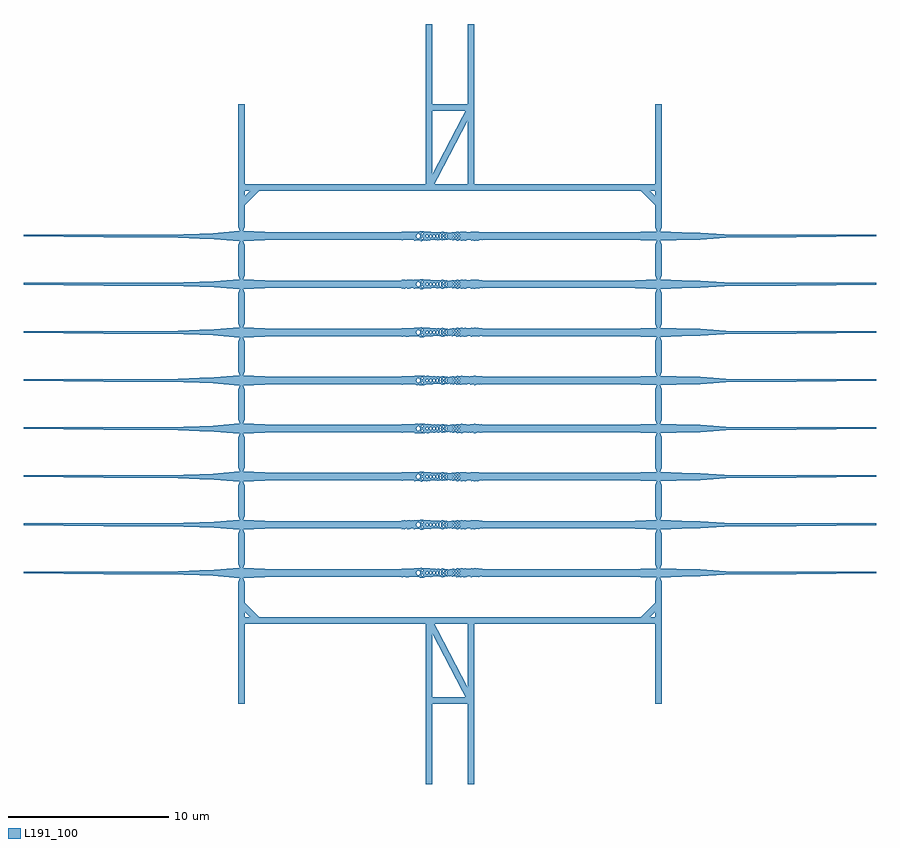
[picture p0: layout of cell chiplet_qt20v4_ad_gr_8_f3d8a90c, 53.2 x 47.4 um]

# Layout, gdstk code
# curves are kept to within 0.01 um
from math import pi, radians
import gdstk
lib = gdstk.Library(unit=1e-6, precision=1e-09)
def R(c, l, rs):  # rectangles x0, y0, x1, y1
    for r in rs: c.add(gdstk.rectangle(r[:2], r[2:], *l))
def P(c, l, *ps):  # polygons
    for p in ps: c.add(gdstk.Polygon(p, *l))
L191_100 = (191, 100)

qt20_180nm_gap_cavity_9e = lib.new_cell('QT20_180nm_gap_cavity_9e89cd71')
P(qt20_180nm_gap_cavity_9e, L191_100, [(-1.796,0.306),(-1.528,0.271),(-1.336,0.28),(-1.14,0.245),(-0.96,0.252),(-0.824,0.235),(-0.728,0.252),(-0.62,0.228),(-0.452,0.272),(-0.328,0.233),(-0.184,0.232),(-0.088,0.196),(0.108,0.228),(0.184,0.255),(0.32,0.229),(0.464,0.279),(0.576,0.246),(0.744,0.284),(0.832,0.26),(0.944,0.276),(1.06,0.245),(1.22,0.242),(1.34,0.274),(1.448,0.265),(1.528,0.288),(1.656,0.268),(1.756,0.273),(1.852,0.245),(1.98,0.251),(2.002,0.242),(2.002,0.039),(0.572,0.039),(0.602,0.058),(0.613,0.098),(0.597,0.146),(0.568,0.168),(0.536,0.154),(0.514,0.114),(0.522,0.074),(0.564,0.04),(0.408,0.04),(0.438,0.07),(0.442,0.11),(0.422,0.146),(0.376,0.176),(0.34,0.158),(0.33,0.11),(0.39,0.042),(0.213,0.042),(0.24,0.058),(0.256,0.098),(0.248,0.129),(0.216,0.148),(0.18,0.138),(0.162,0.094),(0.176,0.059),(0.207,0.042),(2.002,0.039),(2.002,-0.168),(0.568,-0.168),(0.61,-0.118),(0.602,-0.058),(0.58,-0.04),(0.552,-0.044),(0.514,-0.094),(0.526,-0.142),(0.56,-0.168),(2.002,-0.176),(0.376,-0.176),(0.408,-0.16),(0.442,-0.11),(0.438,-0.07),(0.408,-0.04),(0.343,-0.082),(0.334,-0.148),(0.216,-0.148),(0.244,-0.134),(0.256,-0.098),(0.24,-0.058),(0.213,-0.042),(0.167,-0.074),(0.172,-0.129),(-0.204,-0.129),(-0.178,-0.102),(-0.188,0.122),(-0.224,0.128),(-0.256,0.112),(-0.274,0.086),(-0.274,0.037),(-0.412,0.037),(-0.38,0.052),(-0.335,0.106),(-0.339,0.146),(-0.372,0.18),(-0.435,0.162),(-0.474,0.102),(-0.428,0.04),(-0.274,0.037),(-0.273,-0.09),(-0.216,-0.129),(0.172,-0.129),(0.2,-0.148),(0.334,-0.148),(0.368,-0.176),(2.002,-0.18),(-0.372,-0.18),(-0.344,-0.156),(-0.335,-0.106),(-0.38,-0.052),(-0.412,-0.037),(-0.444,-0.051),(-0.473,-0.094),(-0.464,-0.132),(-0.436,-0.161),(-0.592,-0.161),(-0.554,-0.138),(-0.537,-0.102),(-0.562,-0.01),(-0.538,0.11),(-0.584,0.16),(-0.626,0.142),(-0.654,0.086),(-0.658,-0.058),(-0.643,-0.115),(-0.784,-0.115),(-0.739,-0.074),(-0.719,-0.006),(-0.739,0.074),(-0.784,0.115),(-0.83,0.09),(-0.866,0.022),(-0.858,-0.046),(-0.813,-0.106),(-0.988,-0.106),(-0.951,-0.082),(-0.922,-0.014),(-0.934,0.054),(-0.98,0.104),(-1.028,0.091),(-1.07,0.018),(-1.058,-0.054),(-1.008,-0.103),(-1.204,-0.103),(-1.156,-0.069),(-1.133,-0.01),(-1.151,0.062),(-1.188,0.099),(-1.232,0.096),(-1.281,0.03),(-1.281,-0.03),(-1.24,-0.09),(-1.42,-0.09),(-1.374,-0.066),(-1.35,-0.018),(-1.358,0.042),(-1.396,0.084),(-1.724,0.074),(-1.68,0.088),(-1.658,0.126),(-1.67,0.178),(-1.72,0.213),(-1.778,0.182),(-1.798,0.118),(-1.784,0.092),(-1.748,0.076),(-1.469,0.074),(-1.502,0.034),(-1.507,-0.018),(-1.479,-0.066),(-1.429,-0.09),(-0.643,-0.115),(-0.604,-0.159),(-0.436,-0.161),(-0.396,-0.18),(2.002,-0.18),(2.002,-0.242),(1.944,-0.254),(1.852,-0.245),(1.756,-0.273),(1.656,-0.268),(1.56,-0.288),(1.448,-0.265),(1.34,-0.274),(1.22,-0.242),(1.06,-0.245),(0.944,-0.276),(0.832,-0.26),(0.724,-0.284),(0.592,-0.246),(0.464,-0.279),(0.32,-0.229),(0.184,-0.255),(-0.064,-0.196),(-0.14,-0.213),(-1.72,-0.213),(-1.679,-0.19),(-1.658,-0.146),(-1.667,-0.102),(-1.704,-0.076),(-1.784,-0.092),(-1.794,-0.152),(-1.964,-0.152),(-1.913,-0.13),(-1.87,-0.082),(-1.858,0.046),(-1.904,0.123),(-1.984,0.152),(-2.048,0.123),(-2.086,0.066),(-2.094,-0.034),(-2.07,-0.098),(-1.992,-0.151),(-1.794,-0.152),(-1.768,-0.193),(-1.732,-0.212),(-0.14,-0.213),(-0.16,-0.224),(-0.328,-0.233),(-0.452,-0.272),(-0.62,-0.228),(-0.728,-0.252),(-0.824,-0.235),(-0.96,-0.252),(-1.14,-0.245),(-1.336,-0.28),(-1.528,-0.271),(-1.796,-0.306),(-1.94,-0.281),(-2.152,-0.284),(-2.272,-0.263),(-3,-0.268),(-3,0.268),(-2.272,0.263),(-2.152,0.284),(-1.94,0.281)])

taper_cross_section_b099 = lib.new_cell('taper_cross_section_b0997aaa')
P(taper_cross_section_b099, L191_100, [(0,-0.23),(0.03,-0.23),(0.061,-0.23),(0.091,-0.23),(0.121,-0.23),(0.152,-0.23),(0.182,-0.23),(0.212,-0.23),(0.242,-0.23),(0.273,-0.23),(0.303,-0.23),(0.333,-0.23),(0.364,-0.23),(0.394,-0.23),(0.424,-0.23),(0.455,-0.23),(0.485,-0.23),(0.515,-0.23),(0.545,-0.23),(0.576,-0.23),(0.606,-0.23),(0.636,-0.23),(0.667,-0.23),(0.697,-0.23),(0.727,-0.23),(0.758,-0.23),(0.788,-0.23),(0.818,-0.23),(0.848,-0.23),(0.879,-0.23),(0.909,-0.23),(0.939,-0.23),(0.97,-0.23),(1,-0.23),(1.03,-0.23),(1.061,-0.23),(1.091,-0.23),(1.121,-0.23),(1.152,-0.23),(1.182,-0.23),(1.212,-0.23),(1.242,-0.23),(1.273,-0.23),(1.303,-0.23),(1.333,-0.23),(1.364,-0.23),(1.394,-0.23),(1.424,-0.23),(1.455,-0.23),(1.485,-0.23),(1.515,-0.23),(1.545,-0.23),(1.576,-0.23),(1.606,-0.23),(1.636,-0.23),(1.667,-0.23),(1.697,-0.23),(1.727,-0.23),(1.758,-0.23),(1.788,-0.23),(1.818,-0.23),(1.848,-0.23),(1.879,-0.23),(1.909,-0.23),(1.939,-0.23),(1.97,-0.23),(2,-0.23),(2.03,-0.23),(2.061,-0.23),(2.091,-0.23),(2.121,-0.23),(2.152,-0.23),(2.182,-0.23),(2.212,-0.23),(2.242,-0.23),(2.273,-0.23),(2.303,-0.23),(2.333,-0.23),(2.364,-0.23),(2.394,-0.23),(2.424,-0.23),(2.455,-0.23),(2.485,-0.23),(2.515,-0.23),(2.545,-0.23),(2.576,-0.23),(2.606,-0.23),(2.636,-0.23),(2.667,-0.23),(2.697,-0.23),(2.727,-0.23),(2.758,-0.23),(2.788,-0.23),(2.818,-0.23),(2.848,-0.23),(2.879,-0.23),(2.909,-0.23),(2.939,-0.23),(2.97,-0.23),(3,-0.23),(3,0.23),(2.97,0.23),(2.939,0.23),(2.909,0.23),(2.879,0.23),(2.848,0.23),(2.818,0.23),(2.788,0.23),(2.758,0.23),(2.727,0.23),(2.697,0.23),(2.667,0.23),(2.636,0.23),(2.606,0.23),(2.576,0.23),(2.545,0.23),(2.515,0.23),(2.485,0.23),(2.455,0.23),(2.424,0.23),(2.394,0.23),(2.364,0.23),(2.333,0.23),(2.303,0.23),(2.273,0.23),(2.242,0.23),(2.212,0.23),(2.182,0.23),(2.152,0.23),(2.121,0.23),(2.091,0.23),(2.061,0.23),(2.03,0.23),(2,0.23),(1.97,0.23),(1.939,0.23),(1.909,0.23),(1.879,0.23),(1.848,0.23),(1.818,0.23),(1.788,0.23),(1.758,0.23),(1.727,0.23),(1.697,0.23),(1.667,0.23),(1.636,0.23),(1.606,0.23),(1.576,0.23),(1.545,0.23),(1.515,0.23),(1.485,0.23),(1.455,0.23),(1.424,0.23),(1.394,0.23),(1.364,0.23),(1.333,0.23),(1.303,0.23),(1.273,0.23),(1.242,0.23),(1.212,0.23),(1.182,0.23),(1.152,0.23),(1.121,0.23),(1.091,0.23),(1.061,0.23),(1.03,0.23),(1,0.23),(0.97,0.23),(0.939,0.23),(0.909,0.23),(0.879,0.23),(0.848,0.23),(0.818,0.23),(0.788,0.23),(0.758,0.23),(0.727,0.23),(0.697,0.23),(0.667,0.23),(0.636,0.23),(0.606,0.23),(0.576,0.23),(0.545,0.23),(0.515,0.23),(0.485,0.23),(0.455,0.23),(0.424,0.23),(0.394,0.23),(0.364,0.23),(0.333,0.23),(0.303,0.23),(0.273,0.23),(0.242,0.23),(0.212,0.23),(0.182,0.23),(0.152,0.23),(0.121,0.23),(0.091,0.23),(0.061,0.23),(0.03,0.23),(0,0.23)])

taper_cross_section_83e5 = lib.new_cell('taper_cross_section_83e5c939')
P(taper_cross_section_83e5, L191_100, [(0,-0.23),(0.03,-0.23),(0.061,-0.23),(0.091,-0.23),(0.121,-0.23),(0.152,-0.23),(0.182,-0.23),(0.212,-0.23),(0.242,-0.23),(0.273,-0.23),(0.303,-0.23),(0.333,-0.23),(0.364,-0.23),(0.394,-0.23),(0.424,-0.23),(0.455,-0.23),(0.485,-0.23),(0.515,-0.23),(0.545,-0.23),(0.576,-0.23),(0.606,-0.23),(0.636,-0.23),(0.667,-0.23),(0.697,-0.23),(0.727,-0.23),(0.758,-0.23),(0.788,-0.23),(0.818,-0.23),(0.848,-0.23),(0.879,-0.23),(0.909,-0.23),(0.939,-0.23),(0.97,-0.23),(1,-0.23),(1.03,-0.23),(1.061,-0.23),(1.091,-0.23),(1.121,-0.23),(1.152,-0.23),(1.182,-0.23),(1.212,-0.23),(1.242,-0.23),(1.273,-0.23),(1.303,-0.23),(1.333,-0.23),(1.364,-0.23),(1.394,-0.23),(1.424,-0.23),(1.455,-0.23),(1.485,-0.23),(1.515,-0.23),(1.545,-0.23),(1.576,-0.23),(1.606,-0.23),(1.636,-0.23),(1.667,-0.23),(1.697,-0.23),(1.727,-0.23),(1.758,-0.23),(1.788,-0.23),(1.818,-0.23),(1.848,-0.23),(1.879,-0.23),(1.909,-0.23),(1.939,-0.23),(1.97,-0.23),(2,-0.23),(2.03,-0.23),(2.061,-0.23),(2.091,-0.23),(2.121,-0.23),(2.152,-0.23),(2.182,-0.23),(2.212,-0.23),(2.242,-0.23),(2.273,-0.23),(2.303,-0.23),(2.333,-0.23),(2.364,-0.23),(2.394,-0.23),(2.424,-0.23),(2.455,-0.23),(2.485,-0.23),(2.515,-0.23),(2.545,-0.23),(2.576,-0.23),(2.606,-0.23),(2.636,-0.23),(2.667,-0.23),(2.697,-0.23),(2.727,-0.23),(2.758,-0.23),(2.788,-0.23),(2.818,-0.23),(2.848,-0.23),(2.879,-0.23),(2.909,-0.23),(2.939,-0.23),(2.97,-0.23),(3,-0.23),(3,0.23),(2.97,0.23),(2.939,0.23),(2.909,0.23),(2.879,0.23),(2.848,0.23),(2.818,0.23),(2.788,0.23),(2.758,0.23),(2.727,0.23),(2.697,0.23),(2.667,0.23),(2.636,0.23),(2.606,0.23),(2.576,0.23),(2.545,0.23),(2.515,0.23),(2.485,0.23),(2.455,0.23),(2.424,0.23),(2.394,0.23),(2.364,0.23),(2.333,0.23),(2.303,0.23),(2.273,0.23),(2.242,0.23),(2.212,0.23),(2.182,0.23),(2.152,0.23),(2.121,0.23),(2.091,0.23),(2.061,0.23),(2.03,0.23),(2,0.23),(1.97,0.23),(1.939,0.23),(1.909,0.23),(1.879,0.23),(1.848,0.23),(1.818,0.23),(1.788,0.23),(1.758,0.23),(1.727,0.23),(1.697,0.23),(1.667,0.23),(1.636,0.23),(1.606,0.23),(1.576,0.23),(1.545,0.23),(1.515,0.23),(1.485,0.23),(1.455,0.23),(1.424,0.23),(1.394,0.23),(1.364,0.23),(1.333,0.23),(1.303,0.23),(1.273,0.23),(1.242,0.23),(1.212,0.23),(1.182,0.23),(1.152,0.23),(1.121,0.23),(1.091,0.23),(1.061,0.23),(1.03,0.23),(1,0.23),(0.97,0.23),(0.939,0.23),(0.909,0.23),(0.879,0.23),(0.848,0.23),(0.818,0.23),(0.788,0.23),(0.758,0.23),(0.727,0.23),(0.697,0.23),(0.667,0.23),(0.636,0.23),(0.606,0.23),(0.576,0.23),(0.545,0.23),(0.515,0.23),(0.485,0.23),(0.455,0.23),(0.424,0.23),(0.394,0.23),(0.364,0.23),(0.333,0.23),(0.303,0.23),(0.273,0.23),(0.242,0.23),(0.212,0.23),(0.182,0.23),(0.152,0.23),(0.121,0.23),(0.091,0.23),(0.061,0.23),(0.03,0.23),(0,0.23)])

coupled_qbit_0bb29502 = lib.new_cell('coupled_qbit_0bb29502')
coupled_qbit_0bb29502.add(gdstk.Reference(qt20_180nm_gap_cavity_9e, (0,0)))
coupled_qbit_0bb29502.add(gdstk.Reference(taper_cross_section_b099, (5.002,0), rotation=pi))
coupled_qbit_0bb29502.add(gdstk.Reference(taper_cross_section_83e5, (-3.002,0), rotation=pi))

straight_aaa9666b = lib.new_cell('straight_aaa9666b')
R(straight_aaa9666b, L191_100, [(0,-0.23,4.898,0.23)])

straight_15000633 = lib.new_cell('straight_15000633')
R(straight_15000633, L191_100, [(0,-0.23,5.898,0.23)])

compass_d79f009c = lib.new_cell('compass_d79f009c')
R(compass_d79f009c, L191_100, [(-0.1,-0.3,0.1,0.3)])

rectangle_ed88580b = lib.new_cell('rectangle_ed88580b')
rectangle_ed88580b.add(gdstk.Reference(compass_d79f009c, (0,0)))

taper_cross_section_74e0 = lib.new_cell('taper_cross_section_74e0f155')
P(taper_cross_section_74e0, L191_100, [(0,-0.225),(2,-0.3),(2,0.3),(0,0.225)])

taper_cross_section_a297 = lib.new_cell('taper_cross_section_a2972c19')
P(taper_cross_section_a297, L191_100, [(0,-0.23),(2,-0.3),(2,0.3),(0,0.23)])

taper_cross_section_20e0 = lib.new_cell('taper_cross_section_20e0bc68')
P(taper_cross_section_20e0, L191_100, [(0,-0.1),(0.25,-0.2),(0.25,0.2),(0,0.1)])

support_cross_f89d0b61 = lib.new_cell('support_cross_f89d0b61')
support_cross_f89d0b61.add(gdstk.Reference(rectangle_ed88580b, (0,0)))
support_cross_f89d0b61.add(gdstk.Reference(taper_cross_section_74e0, (2.1,0), rotation=pi))
support_cross_f89d0b61.add(gdstk.Reference(taper_cross_section_a297, (-2.1,0)))
support_cross_f89d0b61.add(gdstk.Reference(taper_cross_section_20e0, (0,0.3), rotation=pi/2))
support_cross_f89d0b61.add(gdstk.Reference(taper_cross_section_20e0, (0,-0.3), rotation=3*pi/2))

compass_87a1f7e4 = lib.new_cell('compass_87a1f7e4')
R(compass_87a1f7e4, L191_100, [(-0.1,-0.325,0.1,0.325)])

rectangle_03c840df = lib.new_cell('rectangle_03c840df')
rectangle_03c840df.add(gdstk.Reference(compass_87a1f7e4, (0,0)))

taper_cross_section_66c0 = lib.new_cell('taper_cross_section_66c08956')
P(taper_cross_section_66c0, L191_100, [(0,-0.23),(2,-0.325),(2,0.325),(0,0.23)])

taper_cross_section_2160 = lib.new_cell('taper_cross_section_2160c1e2')
P(taper_cross_section_2160, L191_100, [(0,-0.155),(2,-0.325),(2,0.325),(0,0.155)])

support_cross_91ce4cfd = lib.new_cell('support_cross_91ce4cfd')
support_cross_91ce4cfd.add(gdstk.Reference(rectangle_03c840df, (0,0)))
support_cross_91ce4cfd.add(gdstk.Reference(taper_cross_section_66c0, (2.1,0), rotation=pi))
support_cross_91ce4cfd.add(gdstk.Reference(taper_cross_section_2160, (-2.1,0)))
support_cross_91ce4cfd.add(gdstk.Reference(taper_cross_section_20e0, (0,0.325), rotation=pi/2))
support_cross_91ce4cfd.add(gdstk.Reference(taper_cross_section_20e0, (0,-0.325), rotation=3*pi/2))

inverse_design_qbit_beam = lib.new_cell('inverse_design_qbit_beam_58db6d0b')
inverse_design_qbit_beam.add(gdstk.Reference(coupled_qbit_0bb29502, (0,0)))
inverse_design_qbit_beam.add(gdstk.Reference(straight_aaa9666b, (-6.002,0), rotation=pi))
inverse_design_qbit_beam.add(gdstk.Reference(straight_15000633, (5.002,0)))
inverse_design_qbit_beam.add(gdstk.Reference(support_cross_f89d0b61, (13,0)))
inverse_design_qbit_beam.add(gdstk.Reference(support_cross_91ce4cfd, (-13,0)))

c_inverse_design_qbit_beam = lib.new_cell('inverse_design_qbit_beam_array_3f7fdb9b')
r = gdstk.Reference(inverse_design_qbit_beam, (0,0)); r.repetition = gdstk.Repetition(1, 8, v1=(1,0), v2=(0,3)); c_inverse_design_qbit_beam.add(r)

straight_cc08c24d = lib.new_cell('straight_cc08c24d')
R(straight_cc08c24d, L191_100, [(0,-0.2,1.85,0.2)])

straight_7ad87ee6 = lib.new_cell('straight_7ad87ee6')
R(straight_7ad87ee6, L191_100, [(0,-0.2,1.9,0.2)])

qbit_beam_array_eb526c35 = lib.new_cell('qbit_beam_array_eb526c35')
qbit_beam_array_eb526c35.add(gdstk.Reference(c_inverse_design_qbit_beam, (0,0)))
qbit_beam_array_eb526c35.add(gdstk.Reference(straight_cc08c24d, (-13,0.575), rotation=pi/2))
qbit_beam_array_eb526c35.add(gdstk.Reference(straight_7ad87ee6, (13,0.55), rotation=pi/2))
qbit_beam_array_eb526c35.add(gdstk.Reference(straight_cc08c24d, (-13,3.575), rotation=pi/2))
qbit_beam_array_eb526c35.add(gdstk.Reference(straight_7ad87ee6, (13,3.55), rotation=pi/2))
qbit_beam_array_eb526c35.add(gdstk.Reference(straight_cc08c24d, (-13,6.575), rotation=pi/2))
qbit_beam_array_eb526c35.add(gdstk.Reference(straight_7ad87ee6, (13,6.55), rotation=pi/2))
qbit_beam_array_eb526c35.add(gdstk.Reference(straight_cc08c24d, (-13,9.575), rotation=pi/2))
qbit_beam_array_eb526c35.add(gdstk.Reference(straight_7ad87ee6, (13,9.55), rotation=pi/2))
qbit_beam_array_eb526c35.add(gdstk.Reference(straight_cc08c24d, (-13,12.575), rotation=pi/2))
qbit_beam_array_eb526c35.add(gdstk.Reference(straight_7ad87ee6, (13,12.55), rotation=pi/2))
qbit_beam_array_eb526c35.add(gdstk.Reference(straight_cc08c24d, (-13,15.575), rotation=pi/2))
qbit_beam_array_eb526c35.add(gdstk.Reference(straight_7ad87ee6, (13,15.55), rotation=pi/2))
qbit_beam_array_eb526c35.add(gdstk.Reference(straight_cc08c24d, (-13,18.575), rotation=pi/2))
qbit_beam_array_eb526c35.add(gdstk.Reference(straight_7ad87ee6, (13,18.55), rotation=pi/2))

l_c8ea28a7 = lib.new_cell('L_c8ea28a7')
P(l_c8ea28a7, L191_100, [(-0.2,-0.2),(1.3,-0.2),(1.3,0.2),(0.2,0.2),(0.2,1.3),(-0.2,1.3),(-0.2,-0.2)])

extrude_f667d802 = lib.new_cell('extrude_f667d802')
P(extrude_f667d802, L191_100, [(1.181,0.141),(0.141,1.181),(-0.141,0.899),(0.899,-0.141)])

chiplet_frame_corner_fb6 = lib.new_cell('chiplet_frame_corner_fb6255ab')
chiplet_frame_corner_fb6.add(gdstk.Reference(l_c8ea28a7, (0,0)))
chiplet_frame_corner_fb6.add(gdstk.Reference(extrude_f667d802, (0,0)))

compass_2ac69cab = lib.new_cell('compass_2ac69cab')
R(compass_2ac69cab, L191_100, [(-0.2,-0.2,0.2,0.2)])

rectangle_2ac69cab = lib.new_cell('rectangle_2ac69cab')
rectangle_2ac69cab.add(gdstk.Reference(compass_2ac69cab, (0.2,0.2)))

straight_c0c98653 = lib.new_cell('straight_c0c98653')
R(straight_c0c98653, L191_100, [(0,-0.2,2,0.2)])

straight_d8296038 = lib.new_cell('straight_d8296038')
R(straight_d8296038, L191_100, [(0,-0.2,7.4,0.2)])

straight_0f47a090 = lib.new_cell('straight_0f47a090')
R(straight_0f47a090, L191_100, [(0,-0.2,2.2,0.2)])

straight_ca39a7c7 = lib.new_cell('straight_ca39a7c7')
R(straight_ca39a7c7, L191_100, [(0,-0.2,4.6,0.2)])

extrude_b28737ee = lib.new_cell('extrude_b28737ee')
P(extrude_b28737ee, L191_100, [(10.777,0.108),(13.377,5.108),(13.023,5.292),(10.423,0.292)])

breakout_midsection_7238 = lib.new_cell('breakout_midsection_7238e00b')
breakout_midsection_7238.add(gdstk.Reference(rectangle_2ac69cab, (0.2,0)))
breakout_midsection_7238.add(gdstk.Reference(rectangle_2ac69cab, (2.6,0)))
breakout_midsection_7238.add(gdstk.Reference(rectangle_2ac69cab, (10.4,0)))
breakout_midsection_7238.add(gdstk.Reference(rectangle_2ac69cab, (13,0)))
breakout_midsection_7238.add(gdstk.Reference(rectangle_2ac69cab, (20.8,0)))
breakout_midsection_7238.add(gdstk.Reference(rectangle_2ac69cab, (23.2,0)))
breakout_midsection_7238.add(gdstk.Reference(rectangle_2ac69cab, (10.4,5)))
breakout_midsection_7238.add(gdstk.Reference(rectangle_2ac69cab, (13,5)))
breakout_midsection_7238.add(gdstk.Reference(rectangle_2ac69cab, (10.4,10)))
breakout_midsection_7238.add(gdstk.Reference(rectangle_2ac69cab, (13,10)))
breakout_midsection_7238.add(gdstk.Reference(straight_c0c98653, (0.6,0.2)))
breakout_midsection_7238.add(gdstk.Reference(straight_d8296038, (3,0.2)))
breakout_midsection_7238.add(gdstk.Reference(straight_0f47a090, (10.8,0.2)))
breakout_midsection_7238.add(gdstk.Reference(straight_d8296038, (13.4,0.2)))
breakout_midsection_7238.add(gdstk.Reference(straight_c0c98653, (21.2,0.2)))
breakout_midsection_7238.add(gdstk.Reference(straight_0f47a090, (10.8,5.2)))
breakout_midsection_7238.add(gdstk.Reference(straight_ca39a7c7, (10.6,0.4), rotation=pi/2))
breakout_midsection_7238.add(gdstk.Reference(straight_ca39a7c7, (10.6,5.4), rotation=pi/2))
breakout_midsection_7238.add(gdstk.Reference(straight_ca39a7c7, (13.2,0.4), rotation=pi/2))
breakout_midsection_7238.add(gdstk.Reference(straight_ca39a7c7, (13.2,5.4), rotation=pi/2))
breakout_midsection_7238.add(gdstk.Reference(extrude_b28737ee, (0,0)))

straight_b8c71607 = lib.new_cell('straight_b8c71607')
R(straight_b8c71607, L191_100, [(0,-0.2,5,0.2)])

breakout_support_structu = lib.new_cell('breakout_support_structure_363ea766')
breakout_support_structu.add(gdstk.Reference(chiplet_frame_corner_fb6, (-1.1,0.2), x_reflection=True))
breakout_support_structu.add(gdstk.Reference(chiplet_frame_corner_fb6, (24.9,0.2), rotation=pi))
breakout_support_structu.add(gdstk.Reference(breakout_midsection_7238, (0,0)))
breakout_support_structu.add(gdstk.Reference(straight_b8c71607, (-1.1,0.4), rotation=pi/2))
breakout_support_structu.add(gdstk.Reference(straight_b8c71607, (24.9,0.4), rotation=pi/2))

straight_2f2d2c75 = lib.new_cell('straight_2f2d2c75')
R(straight_2f2d2c75, L191_100, [(0,-0.2,1.155,0.2)])

straight_f5ab2834 = lib.new_cell('straight_f5ab2834')
R(straight_f5ab2834, L191_100, [(0,-0.2,1.18,0.2)])

c_breakout_support_structu = lib.new_cell('breakout_support_structure_with_base_extension_5c3bd4ee')
c_breakout_support_structu.add(gdstk.Reference(breakout_support_structu, (0,0)))
c_breakout_support_structu.add(gdstk.Reference(straight_2f2d2c75, (-1.1,-1.1), rotation=3*pi/2))
c_breakout_support_structu.add(gdstk.Reference(straight_f5ab2834, (24.9,-1.1), rotation=3*pi/2))

straight_6bc4b7b7 = lib.new_cell('straight_6bc4b7b7')
R(straight_6bc4b7b7, L191_100, [(0,-0.2,1.095,0.2)])

straight_a05f0073 = lib.new_cell('straight_a05f0073')
R(straight_a05f0073, L191_100, [(0,-0.2,1.12,0.2)])

c_breakout_support_structu_ = lib.new_cell('breakout_support_structure_with_base_extension_84308aab')
c_breakout_support_structu_.add(gdstk.Reference(breakout_support_structu, (0,0)))
c_breakout_support_structu_.add(gdstk.Reference(straight_6bc4b7b7, (-1.1,-1.1), rotation=3*pi/2))
c_breakout_support_structu_.add(gdstk.Reference(straight_a05f0073, (24.9,-1.1), rotation=3*pi/2))

qt_chiplet_v2_a8cc80e2 = lib.new_cell('qt_chiplet_v2_a8cc80e2')
qt_chiplet_v2_a8cc80e2.add(gdstk.Reference(qbit_beam_array_eb526c35, (0,0)))
qt_chiplet_v2_a8cc80e2.add(gdstk.Reference(c_breakout_support_structu, (-11.9,23.83)))
qt_chiplet_v2_a8cc80e2.add(gdstk.Reference(c_breakout_support_structu_, (-11.9,-2.77), x_reflection=True))

chiplet_qt20v4_8d6b0e8d = lib.new_cell('chiplet_qt20v4_8d6b0e8d')
chiplet_qt20v4_8d6b0e8d.add(gdstk.Reference(qt_chiplet_v2_a8cc80e2, (0,0)))

straight_5b8eeee8 = lib.new_cell('straight_5b8eeee8')
R(straight_5b8eeee8, L191_100, [(0,-0.155,0.5,0.155)])

taper_9b1bdfca = lib.new_cell('taper_9b1bdfca')
P(taper_9b1bdfca, L191_100, [(0,0.155),(2,0.08),(2,-0.08),(0,-0.155)])

straight_3af902ff = lib.new_cell('straight_3af902ff')
R(straight_3af902ff, L191_100, [(0,-0.08,4,0.08)])

ramp_6c3b3d98 = lib.new_cell('ramp_6c3b3d98')
P(ramp_6c3b3d98, L191_100, [(0,0.16),(5,0.1),(5,0),(0,0)])

xceleprint_d_sin_transit = lib.new_cell('xceleprint_d_sin_transition_7fae5980')
xceleprint_d_sin_transit.add(gdstk.Reference(straight_5b8eeee8, (0,0)))
xceleprint_d_sin_transit.add(gdstk.Reference(taper_9b1bdfca, (0.5,0)))
xceleprint_d_sin_transit.add(gdstk.Reference(straight_3af902ff, (2.5,0)))
xceleprint_d_sin_transit.add(gdstk.Reference(ramp_6c3b3d98, (6.5,0.08), x_reflection=True))

straight_ee09d4de = lib.new_cell('straight_ee09d4de')
R(straight_ee09d4de, L191_100, [(0,-0.225,0.5,0.225)])

taper_5277910b = lib.new_cell('taper_5277910b')
P(taper_5277910b, L191_100, [(0,0.225),(2,0.08),(2,-0.08),(0,-0.225)])

c_xceleprint_d_sin_transit = lib.new_cell('xceleprint_d_sin_transition_d7fa76c1')
c_xceleprint_d_sin_transit.add(gdstk.Reference(straight_ee09d4de, (0,0)))
c_xceleprint_d_sin_transit.add(gdstk.Reference(taper_5277910b, (0.5,0)))
c_xceleprint_d_sin_transit.add(gdstk.Reference(straight_3af902ff, (2.5,0)))
c_xceleprint_d_sin_transit.add(gdstk.Reference(ramp_6c3b3d98, (6.5,0.08), x_reflection=True))

chiplet_qt20v4_ad_gr_8_f = lib.new_cell('chiplet_qt20v4_ad_gr_8_f3d8a90c')
chiplet_qt20v4_ad_gr_8_f.add(gdstk.Reference(chiplet_qt20v4_8d6b0e8d, (0,-10.53)))
chiplet_qt20v4_ad_gr_8_f.add(gdstk.Reference(xceleprint_d_sin_transit, (-15.1,-10.53), rotation=pi, x_reflection=True))
chiplet_qt20v4_ad_gr_8_f.add(gdstk.Reference(xceleprint_d_sin_transit, (-15.1,-7.53), rotation=pi, x_reflection=True))
chiplet_qt20v4_ad_gr_8_f.add(gdstk.Reference(xceleprint_d_sin_transit, (-15.1,-4.53), rotation=pi, x_reflection=True))
chiplet_qt20v4_ad_gr_8_f.add(gdstk.Reference(xceleprint_d_sin_transit, (-15.1,-1.53), rotation=pi, x_reflection=True))
chiplet_qt20v4_ad_gr_8_f.add(gdstk.Reference(xceleprint_d_sin_transit, (-15.1,1.47), rotation=pi, x_reflection=True))
chiplet_qt20v4_ad_gr_8_f.add(gdstk.Reference(xceleprint_d_sin_transit, (-15.1,4.47), rotation=pi, x_reflection=True))
chiplet_qt20v4_ad_gr_8_f.add(gdstk.Reference(xceleprint_d_sin_transit, (-15.1,7.47), rotation=pi, x_reflection=True))
chiplet_qt20v4_ad_gr_8_f.add(gdstk.Reference(xceleprint_d_sin_transit, (-15.1,10.47), rotation=pi, x_reflection=True))
chiplet_qt20v4_ad_gr_8_f.add(gdstk.Reference(c_xceleprint_d_sin_transit, (15.1,10.47)))
chiplet_qt20v4_ad_gr_8_f.add(gdstk.Reference(c_xceleprint_d_sin_transit, (15.1,7.47)))
chiplet_qt20v4_ad_gr_8_f.add(gdstk.Reference(c_xceleprint_d_sin_transit, (15.1,4.47)))
chiplet_qt20v4_ad_gr_8_f.add(gdstk.Reference(c_xceleprint_d_sin_transit, (15.1,1.47)))
chiplet_qt20v4_ad_gr_8_f.add(gdstk.Reference(c_xceleprint_d_sin_transit, (15.1,-1.53)))
chiplet_qt20v4_ad_gr_8_f.add(gdstk.Reference(c_xceleprint_d_sin_transit, (15.1,-4.53)))
chiplet_qt20v4_ad_gr_8_f.add(gdstk.Reference(c_xceleprint_d_sin_transit, (15.1,-7.53)))
chiplet_qt20v4_ad_gr_8_f.add(gdstk.Reference(c_xceleprint_d_sin_transit, (15.1,-10.53)))

lib.write_gds('chiplet_qt20v4_ad_gr_8_f3d8a90c.gds')
